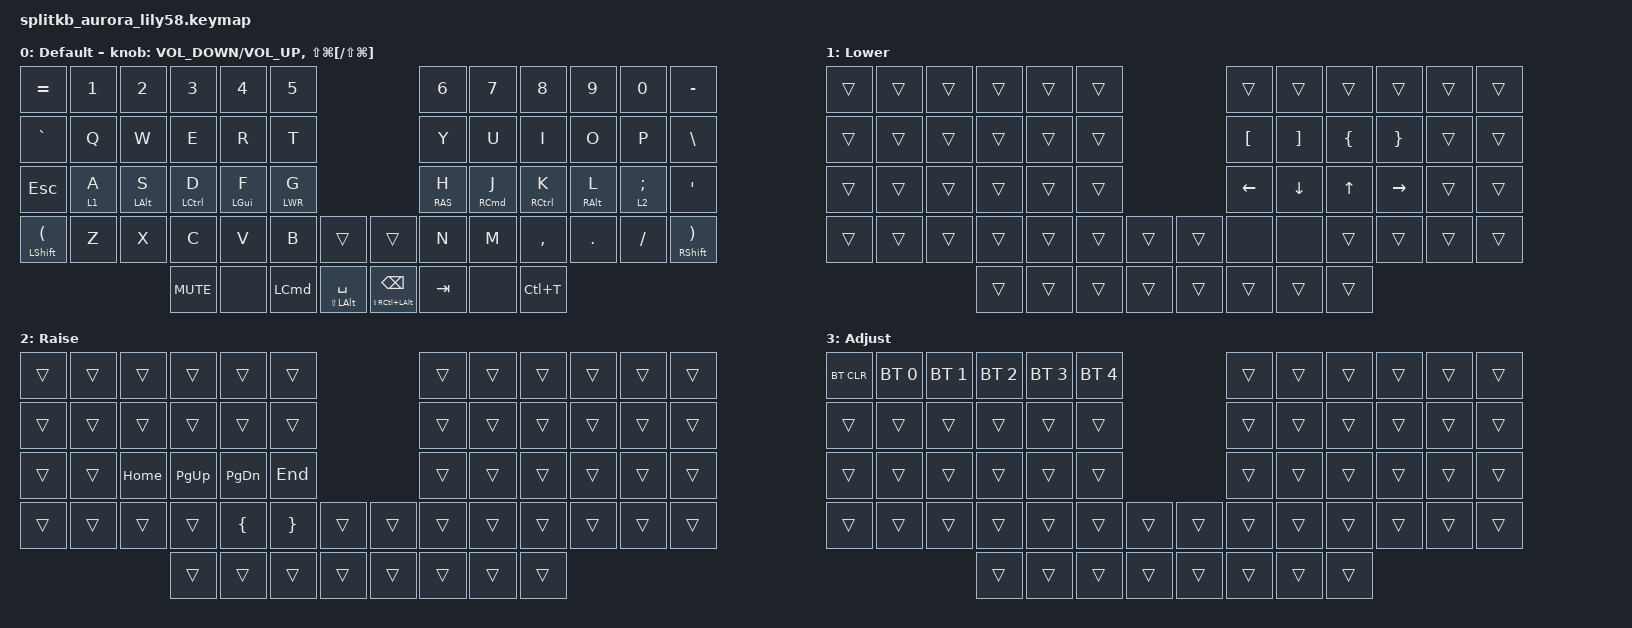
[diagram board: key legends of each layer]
/*
 * Copyright (c) 2020 The ZMK Contributors
 *
 * SPDX-License-Identifier: MIT
 */

#include <behaviors.dtsi>
#include <dt-bindings/zmk/bt.h>
#include <dt-bindings/zmk/keys.h>

#define DEFAULT 0
#define LWR     1
#define RAS     2
#define ADJ     3

/ {
    macros {
        hem: hem {
            label = "hem";
            compatible = "zmk,behavior-macro";
            #binding-cells = <0>;
            bindings =
                <&macro_tap>,
                <&kp BSPC>,
                <&macro_wait_time 100>,
                <&macro_press>,
                <&kp LSHFT &kp LCTRL &kp LALT>;
        };
    };
};

/ {
    combos {
        compatible = "zmk,combos";

        Enter {
            timeout-ms = <50>;
            key-positions = <53 54>;
            bindings = <&kp ENTER>;
            layers = <0>;
        };

        GUI_Space {
            bindings = <&kp LG(SPACE)>;
            key-positions = <28 27>;
            layers = <0>;
        };

        ALT_Space {
            bindings = <&kp LA(SPACE)>;
            key-positions = <26 28>;
            layers = <0>;
        };

        GUI_CTRL_ALT_Space {
            bindings = <&kp LA(LC(SPACE))>;
            key-positions = <31 32>;
            layers = <0>;
        };

        GUI_CTRL_ALT_SHIFT_Space {
            bindings = <&kp LA(LC(LG(LS(SPACE))))>;
            key-positions = <31 33>;
            layers = <0>;
        };
    };
};

/ {
    conditional_layers {
        compatible = "zmk,conditional-layers";

        tri_layer {
            if-layers = <1 2>;
            then-layer = <3>;
        };
    };
};

/ {
    behaviors {
        hm: homerow_mods {
            compatible = "zmk,behavior-hold-tap";
            label = "HOMEROW_MODS";
            #binding-cells = <2>;
            tapping-term-ms = <200>;
            quick_tap_ms = <0>;
            flavor = "tap-preferred";
            bindings = <&kp>, <&kp>;
        };

        hs: homerow_shift {
            compatible = "zmk,behavior-hold-tap";
            label = "HOMEROW_SHIFT";
            #binding-cells = <2>;
            tapping-term-ms = <250>;
            quick_tap_ms = <0>;
            flavor = "tap-preferred";
            bindings = <&kp>, <&kp>;
        };

        am: amethyst_modifyers {
            compatible = "zmk,behavior-hold-tap";
            label = "AMETHYST_MODIFYER";
            #binding-cells = <2>;
            tapping-term-ms = <250>;
            quick_tap_ms = <0>;
            flavor = "tap-preferred";
            bindings = <&kp>, <&kp>;
        };
    };

    keymap {
        compatible = "zmk,keymap";

        default_layer {
            label = "Default";
            bindings = <
&kp EQUAL       &kp N1   &kp N2      &kp N3      &kp N4      &kp N5                                                  &kp N6     &kp N7      &kp N8       &kp N9      &kp N0      &kp MINUS
&kp GRAVE       &kp Q    &kp W       &kp E       &kp R       &kp T                                                   &kp Y      &kp U       &kp I        &kp O       &kp P       &kp BSLH
&kp ESC         &lt 1 A  &hm LALT S  &hm LCTL D  &hm LGUI F  &hm LWR G                                               &hm RAS H  &hm RCMD J  &hm RCTRL K  &hm RALT L  &lt 2 SEMI  &kp SQT
&mt LSHFT LPAR  &kp Z    &kp X       &kp C       &kp V       &kp B      &trans                &trans                 &kp N      &kp M       &kp COMMA    &kp DOT     &kp FSLH    &mt RSHFT RPAR
                                     &kp C_MUTE  &none       &kp LCMD   &am LS(LALT) SPACE    &am LS(RC(LALT)) BSPC  &kp TAB    &none       &kp LC(T)
            >;

            sensor-bindings =
                <&inc_dec_kp C_VOLUME_DOWN C_VOLUME_UP>,
                <&inc_dec_kp LS(LG(LEFT_BRACKET)) LS(LG(RIGHT_BRACKET))>;
        };

        lower_layer {
            label = "Lower";
            bindings = <
&trans  &trans  &trans  &trans  &trans  &trans                    &trans            &trans             &trans          &trans           &trans  &trans
&trans  &trans  &trans  &trans  &trans  &trans                    &kp LEFT_BRACKET  &kp RIGHT_BRACKET  &kp LEFT_BRACE  &kp RIGHT_BRACE  &trans  &trans
&trans  &trans  &trans  &trans  &trans  &trans                    &kp LEFT          &kp DOWN           &kp UP          &kp RIGHT        &trans  &trans
&trans  &trans  &trans  &trans  &trans  &trans  &trans    &trans  &none             &none              &trans          &trans           &trans  &trans
                        &trans  &trans  &trans  &trans    &trans  &trans            &trans             &trans
            >;
        };

        raise_layer {
            label = "Raise";
            bindings = <
&trans  &trans  &trans    &trans     &trans     &trans                      &trans  &trans  &trans  &trans  &trans  &trans
&trans  &trans  &trans    &trans     &trans     &trans                      &trans  &trans  &trans  &trans  &trans  &trans
&trans  &trans  &kp HOME  &kp PG_UP  &kp PG_DN  &kp END                     &trans  &trans  &trans  &trans  &trans  &trans
&trans  &trans  &trans    &trans     &kp LBRC   &kp RBRC  &trans    &trans  &trans  &trans  &trans  &trans  &trans  &trans
                          &trans     &trans     &trans    &trans    &trans  &trans  &trans  &trans
            >;
        };

        adjust_layer {
            label = "Adjust";
            bindings = <
&bt BT_CLR  &bt BT_SEL 0  &bt BT_SEL 1  &bt BT_SEL 2  &bt BT_SEL 3  &bt BT_SEL 4                    &trans  &trans  &trans  &trans  &trans  &trans
&trans      &trans        &trans        &trans        &trans        &trans                          &trans  &trans  &trans  &trans  &trans  &trans
&trans      &trans        &trans        &trans        &trans        &trans                          &trans  &trans  &trans  &trans  &trans  &trans
&trans      &trans        &trans        &trans        &trans        &trans        &trans    &trans  &trans  &trans  &trans  &trans  &trans  &trans
                                        &trans        &trans        &trans        &trans    &trans  &trans  &trans  &trans
            >;
        };
    };
};
